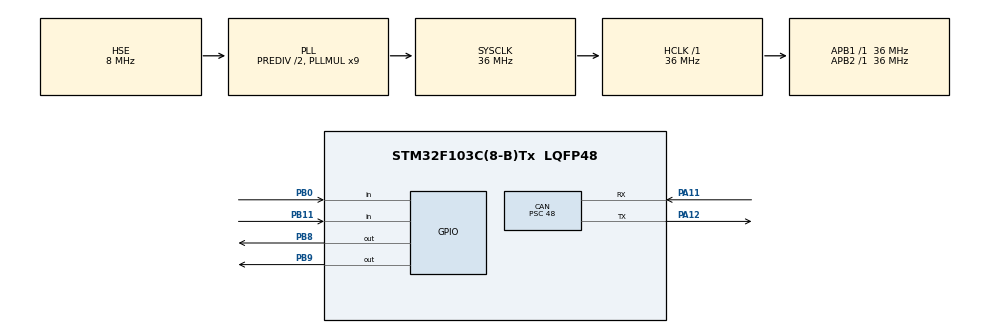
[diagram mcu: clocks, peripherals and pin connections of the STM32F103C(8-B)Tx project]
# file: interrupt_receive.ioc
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CAN.BS1=CAN_BS1_3TQ
CAN.BS2=CAN_BS2_2TQ
CAN.CalculateBaudRate=124999
CAN.CalculateTimeBit=8000
CAN.CalculateTimeQuantum=1333.3333333333335
CAN.Mode=CAN_MODE_LOOPBACK
CAN.Prescaler=48
CAN.SJW=CAN_SJW_2TQ
Mcu.Family=STM32F1
Mcu.Name=STM32F103C(8-B)Tx
Mcu.Package=LQFP48
NVIC.PriorityGroup=NVIC_PRIORITYGROUP_4
NVIC.USB_LP_CAN1_RX0_IRQn=true\:2\:0\:true\:false\:true\:true\:true\:true
PA11.Mode=CAN_Activate
PA11.Signal=CAN_RX
PA12.Mode=CAN_Activate
PA12.Signal=CAN_TX
PA13.Mode=Serial_Wire
PA13.Signal=SYS_JTMS-SWDIO
PA14.Mode=Serial_Wire
PA14.Signal=SYS_JTCK-SWCLK
PB0.GPIO_PuPd=GPIO_PULLUP
PB0.Signal=GPIO_Input
PB11.GPIO_PuPd=GPIO_PULLUP
PB11.Signal=GPIO_Input
PB8.GPIO_ModeDefaultOutputPP=GPIO_MODE_OUTPUT_OD
PB8.GPIO_PuPd=GPIO_NOPULL
PB8.Signal=GPIO_Output
PB9.GPIO_ModeDefaultOutputPP=GPIO_MODE_OUTPUT_OD
PB9.GPIO_PuPd=GPIO_NOPULL
PB9.PinState=GPIO_PIN_RESET
PB9.Signal=GPIO_Output
PC14-OSC32_IN.Mode=LSE-External-Oscillator
PC14-OSC32_IN.Signal=RCC_OSC32_IN
PC15-OSC32_OUT.Mode=LSE-External-Oscillator
PC15-OSC32_OUT.Signal=RCC_OSC32_OUT
PD0-OSC_IN.Mode=HSE-External-Oscillator
PD0-OSC_IN.Signal=RCC_OSC_IN
PD1-OSC_OUT.Mode=HSE-External-Oscillator
PD1-OSC_OUT.Signal=RCC_OSC_OUT
ProjectManager.HeapSize=0x200
ProjectManager.StackSize=0x400
ProjectManager.TargetToolchain=STM32CubeIDE
RCC.AHBFreq_Value=36000000
RCC.APB1Freq_Value=36000000
RCC.APB1TimFreq_Value=36000000
RCC.APB2Freq_Value=36000000
RCC.APB2TimFreq_Value=36000000
RCC.HCLKFreq_Value=36000000
RCC.HSEDivPLL=RCC_HSE_PREDIV_DIV2
RCC.PLLMUL=RCC_PLL_MUL9
RCC.PLLSourceVirtual=RCC_PLLSOURCE_HSE
RCC.SYSCLKFreq_VALUE=36000000
RCC.SYSCLKSource=RCC_SYSCLKSOURCE_PLLCLK
RCC.USBFreq_Value=36000000
board=custom

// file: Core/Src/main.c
/* USER CODE BEGIN Header */
/**
 ******************************************************************************
 * @file           : main.c
 * @brief          : Main program body
 ******************************************************************************
 * @attention
 *
 * Copyright (c) 2026 STMicroelectronics.
 * All rights reserved.
 *
 * This software is licensed under terms that can be found in the LICENSE file
 * in the root directory of this software component.
 * If no LICENSE file comes with this software, it is provided AS-IS.
 *
 ******************************************************************************
 */
/* USER CODE END Header */
#include "main.h"
#include "can.h"
#include "gpio.h"

/* USER CODE BEGIN Includes */
#include "OLED.h"
#include "Key.h"
/* USER CODE END Includes */

/* USER CODE BEGIN PV */
uint8_t KeyNum = 0;
//uint32_t TxID = 0x222;
//uint8_t TxLength = 4;
uint8_t TxDataArray[4][8] = {
		{ 0x11, 0x22, 0x33, 0x44 },
		{ 0xaa, 0xbb, 0xcc, 0xdd },
		{ 0x00, 0x00, 0x00, 0x00 },
		{ 0x00, 0x00, 0x00, 0x00 }

};

CAN_TxHeaderTypeDef TxMsgArray[5] = {
		{ .StdId = 0x555, .ExtId = 0x00000000, .IDE =CAN_ID_STD, .RTR = CAN_RTR_DATA, .DLC = 4 },
		{ .StdId = 0x000, .ExtId = 0x12345678, .IDE =CAN_ID_EXT, .RTR = CAN_RTR_DATA, .DLC = 4 },
		{ .StdId = 0x666, .ExtId = 0x00000000, .IDE =CAN_ID_STD, .RTR = CAN_RTR_REMOTE, .DLC = 0 },
		{ .StdId = 0x000, .ExtId = 0x12345678, .IDE =CAN_ID_EXT, .RTR = CAN_RTR_REMOTE, .DLC = 0 },
		{0}
};

uint8_t pTxMsgArray = 0;

//uint32_t RxID;
//uint8_t RxLength;

/* USER CODE END PV */

void SystemClock_Config(void);

int main(void)
{

  /* MCU Configuration--------------------------------------------------------*/

  /* Reset of all peripherals, Initializes the Flash interface and the Systick. */
  HAL_Init();

  /* Configure the system clock */
  SystemClock_Config();

  /* Initialize all configured peripherals */
  MX_GPIO_Init();
  MX_CAN_Init();
  /* USER CODE BEGIN 2 */
	OLED_Init();

	OLED_ShowString(1, 1, "Rx :");
	OLED_ShowString(2, 1, "RxID:");
	OLED_ShowString(3, 1, "Leng:");
	OLED_ShowString(4, 1, "Data:");
  /* USER CODE END 2 */

  /* Infinite loop */
  /* USER CODE BEGIN WHILE */
	while (1) {
		KeyNum = Key_GetNum();

		if (KeyNum == 1) {
			MyCAN_Transmit(TxMsgArray[pTxMsgArray], TxDataArray[pTxMsgArray]);
			pTxMsgArray ++;
			pTxMsgArray %= 4;
		}

		if (MyCAN_RxFlag == 1) {
			MyCAN_RxFlag = 0;

			if (RxHeader.IDE == CAN_ID_STD) {
				OLED_ShowString(1, 6, "Std");
				OLED_ShowHexNum(2, 6, RxHeader.StdId, 8);

			} else if (RxHeader.IDE == CAN_ID_EXT) {
				OLED_ShowString(1, 6, "Ext");
				OLED_ShowHexNum(2, 6, RxHeader.ExtId, 8);
			}

			if (RxHeader.RTR == CAN_RTR_DATA) {
				OLED_ShowString(1, 10, "Data  ");
				OLED_ShowHexNum(3, 6, RxHeader.DLC, 1);
				OLED_ShowHexNum(4, 6, RxData[0], 2);
				OLED_ShowHexNum(4, 9, RxData[1], 2);
				OLED_ShowHexNum(4, 12, RxData[2], 2);
				OLED_ShowHexNum(4, 15, RxData[3], 2);
			} else if (RxHeader.RTR == CAN_RTR_REMOTE) {
				OLED_ShowString(1, 10, "Remote");
				OLED_ShowHexNum(3, 6, RxHeader.DLC, 1);
				OLED_ShowHexNum(4, 6, 0x00, 2);
				OLED_ShowHexNum(4, 9, 0x00, 2);
				OLED_ShowHexNum(4, 12, 0x00, 2);
				OLED_ShowHexNum(4, 15, 0x00, 2);
			}

		}
    /* USER CODE END WHILE */

	}
}

void SystemClock_Config(void)
{
  RCC_OscInitTypeDef RCC_OscInitStruct = {0};
  RCC_ClkInitTypeDef RCC_ClkInitStruct = {0};

  /** Initializes the RCC Oscillators according to the specified parameters
  * in the RCC_OscInitTypeDef structure.
  */
  RCC_OscInitStruct.OscillatorType = RCC_OSCILLATORTYPE_HSE;
  RCC_OscInitStruct.HSEState = RCC_HSE_ON;
  RCC_OscInitStruct.HSEPredivValue = RCC_HSE_PREDIV_DIV2;
  RCC_OscInitStruct.HSIState = RCC_HSI_ON;
  RCC_OscInitStruct.PLL.PLLState = RCC_PLL_ON;
  RCC_OscInitStruct.PLL.PLLSource = RCC_PLLSOURCE_HSE;
  RCC_OscInitStruct.PLL.PLLMUL = RCC_PLL_MUL9;
  if (HAL_RCC_OscConfig(&RCC_OscInitStruct) != HAL_OK)
  {
    Error_Handler();
  }

  /** Initializes the CPU, AHB and APB buses clocks
  */
  RCC_ClkInitStruct.ClockType = RCC_CLOCKTYPE_HCLK|RCC_CLOCKTYPE_SYSCLK
                              |RCC_CLOCKTYPE_PCLK1|RCC_CLOCKTYPE_PCLK2;
  RCC_ClkInitStruct.SYSCLKSource = RCC_SYSCLKSOURCE_PLLCLK;
  RCC_ClkInitStruct.AHBCLKDivider = RCC_SYSCLK_DIV1;
  RCC_ClkInitStruct.APB1CLKDivider = RCC_HCLK_DIV1;
  RCC_ClkInitStruct.APB2CLKDivider = RCC_HCLK_DIV1;

  if (HAL_RCC_ClockConfig(&RCC_ClkInitStruct, FLASH_LATENCY_1) != HAL_OK)
  {
    Error_Handler();
  }
}

void Error_Handler(void)
{
	__disable_irq();
	while (1) {
	}
}
